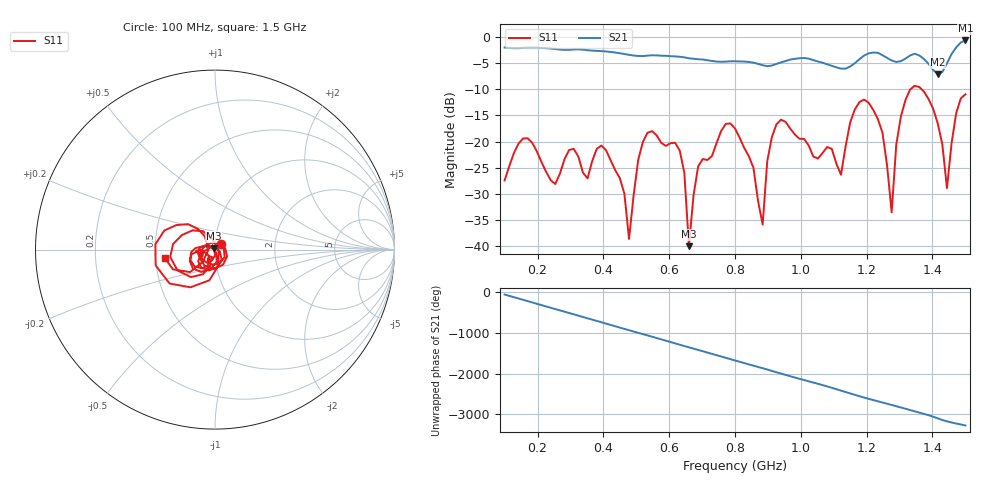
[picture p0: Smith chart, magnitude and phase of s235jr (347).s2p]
! NanoVNA-App
! Date: 2025-09-25 15:06:52
! Start: 100MHz Stop: 1,5GHz Points: 101
! S-Parameter data: F S11 S21 S12 S22
# Hz S RI R 50
!  Frequency  S11_Real  S11_Imag  S21_Real  S21_Imag  S12_Real  S12_Imag  S22_Real  S22_Imag
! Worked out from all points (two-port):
!   101 points, 100 MHz to 1.5 GHz, reference 50 ohm
!   highest |S21| = -0.61 dB at 1.5 GHz (marker M1); lowest = -7.1 dB at 1.416 GHz (marker M2)
!   |S21| within 3 dB of the highest: start of sweep to 601.6 MHz; 1.19 GHz to 1.253 GHz (62.58 MHz wide, 5.12 % of centre) (the widest 2 of 4)
!   lowest |S11| = -40.1 dB at 660 MHz (marker M3), VSWR 1.02, Z = 49.2 + j0.624 ohm
!   |S11| at or under -10 dB: start of sweep to 1.332 GHz; 1.367 GHz to end of sweep
!   S12 and S22 are empty: the file has one direction only
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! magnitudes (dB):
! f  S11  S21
! 100 MHz  -27.5  -2.0
! 156 MHz  -19.4  -2.0
! 338 MHz  -26.0  -2.4
! 408 MHz  -21.7  -2.7
! 478 MHz  -38.7  -3.4
! 520 MHz  -20.1  -3.6
! 576 MHz  -20.3  -3.5
! 632 MHz  -21.7  -3.7
! 660 MHz  -40.1  -4.0
! 688 MHz  -24.8  -4.2
! 800 MHz  -17.5  -4.6
! 884 MHz  -35.9  -5.4
! 926 MHz  -16.7  -5.1
! 1.038 GHz  -22.9  -4.4
! 1.122 GHz  -26.4  -6.0
! 1.206 GHz  -12.6  -3.1
! 1.276 GHz  -33.6  -4.5
! 1.29 GHz  -20.6  -4.7
! 1.332 GHz  -10.0  -3.5
! 1.416 GHz  -16.5  -7.1
! 1.444 GHz  -28.9  -5.0
! 1.5 GHz  -10.9  -0.6
